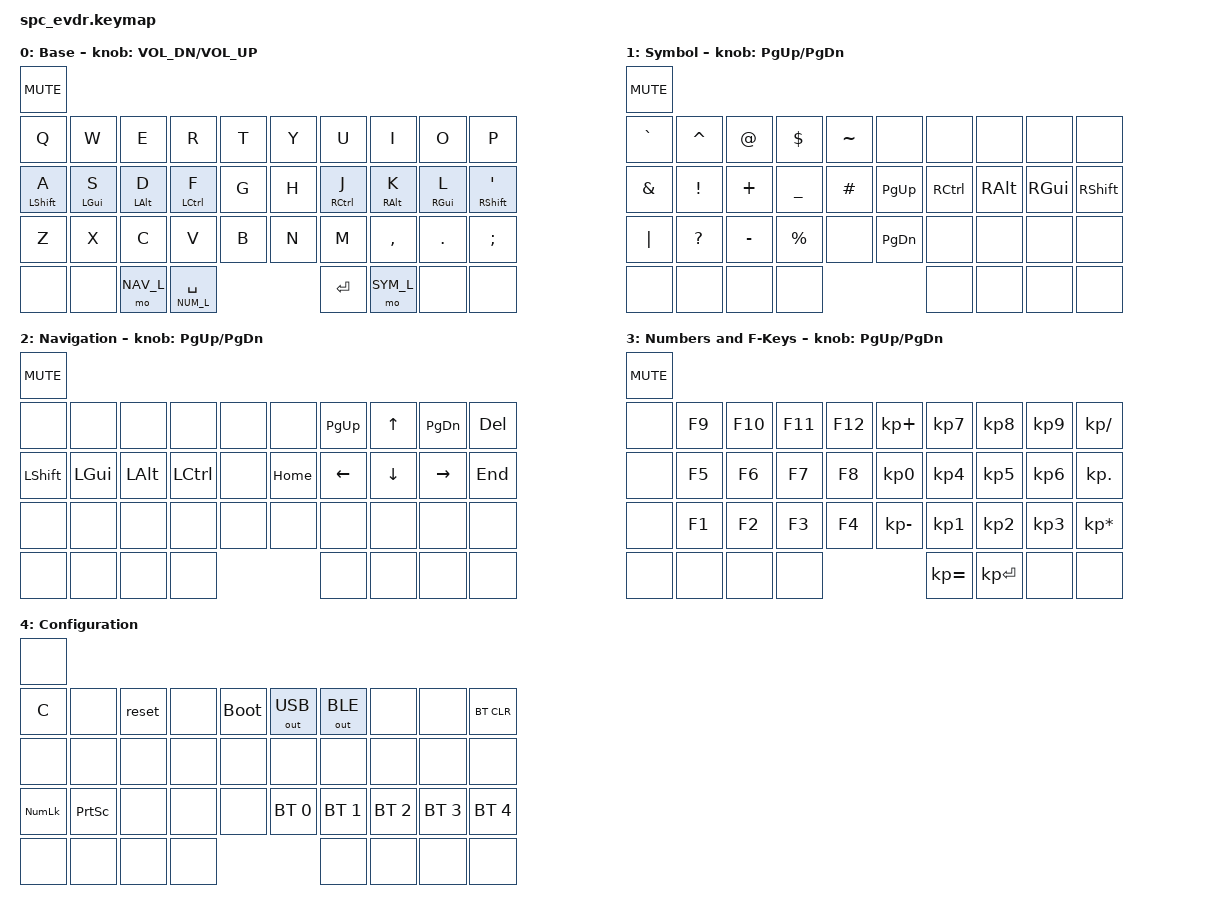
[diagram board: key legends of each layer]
/*
 * Copyright (c) 2022 weteor
 *
 * SPDX-License-Identifier: MIT
 */

#include <behaviors.dtsi>
#include <dt-bindings/zmk/keys.h>
#include <dt-bindings/zmk/bt.h>
#include <dt-bindings/zmk/outputs.h>

#define BAS_L 0
#define SYM_L 2
#define NAV_L 3
#define NUM_L 4
#define CFG_L 5
#define BLE_L 6

// repeating space/backspace
&lt { quick_tap_ms = <200>; };

/ {
    combos {
        compatible = "zmk,combos";

        combo_slash {
            timeout-ms = <50>;
            key-positions = <1 11>;
            layers = <BAS_L>;
            bindings = <&kp SLASH>;
            };
        combo_lBracket {
            timeout-ms = <50>;
            key-positions = <2 12>;
            layers = <BAS_L>;
            bindings = <&kp LEFT_BRACKET>;
            };
        combo_lBrace {
            timeout-ms = <50>;
            key-positions = <3 13>;
            layers = <BAS_L>;
            bindings = <&kp LEFT_BRACE>;
            };
        combo_lParanthesis {
            timeout-ms = <50>;
            key-positions = <4 14>;
            layers = <BAS_L>;
            bindings = <&kp LEFT_PARENTHESIS>;
            };
        combo_equal {
            timeout-ms = <50>;
            key-positions = <5 15>;
            layers = <BAS_L>;
            bindings = <&kp EQUAL>;
            };

        combo_asterix {
            timeout-ms = <50>;
            key-positions = <6 16>;
            layers = <BAS_L>;
            bindings = <&kp ASTERISK>;
            };

        combo_rParanthesis {
            timeout-ms = <50>;
            key-positions = <7 17>;
            layers = <BAS_L>;
            bindings = <&kp RIGHT_PARENTHESIS>;
            };
        combo_rBrace {
            timeout-ms = <50>;
            key-positions = <8 18>;
            layers = <BAS_L>;
            bindings = <&kp RIGHT_BRACE>;
            };
        combo_rBracket {
            timeout-ms = <50>;
            key-positions = <9 19>;
            layers = <BAS_L>;
            bindings = <&kp RIGHT_BRACKET>;
            };
        combo_bSlash {
            timeout-ms = <50>;
            key-positions = <10 20>;
            layers = <BAS_L>;
            bindings = <&kp BACKSLASH>;
            };

        combo_tab {
            timeout-ms = <50>;
            key-positions = <2 3>;
            bindings = <&kp TAB>;
            };
        combo_backspace {
            timeout-ms = <50>;
            key-positions = <8 9>;
            bindings = <&kp BACKSPACE>;
            };
        combo_esc {
            timeout-ms = <50>;
            key-positions = <1 2>;
            bindings = <&kp ESCAPE>;
            };

        combo_cfgLayer {
            timeout-ms = <50>;
            key-positions = <31 32>;
            bindings = <&mo CFG_L>;
            };

        combo_capsWord {
            timeout-ms = <50>;
            key-positions = <23 29>;
            bindings = <&caps_word>;
            };

    };

    behaviors {
        hm: homerow_mods {
            compatible = "zmk,behavior-hold-tap";
            label = "homerow mods";
            #binding-cells = <2>;
            tapping_term_ms = <180>;
            flavor = "tap-preferred";
            bindings = <&kp>, <&kp>;
        };
    };

    
// COMBOS
// vertical
// -------------------------------     -------------------------------
// |  Q  |  W  |  E  |  R  |  T  |     |  Y  |  U  |  I  |  O  |  P  | 
// |  /  |  [  |  {  |  (  |  =  |     |  *  |  )  |  }  |  ]  |  \  |  
// |  A  |  S  |  D  |  F  |  G  |     |  H  |  J  |  K  |  L  |  '  | 
//
// others:
// Q + W - escape
// W + E - tab
// I + O - backspace
// C + , - word caps
// both left bottom keys -> Layer CFG

    keymap {
        compatible = "zmk,keymap";

        default_layer {
            label = " Base";
// -------------------------------     -------------------------------
// |  Q  |  W  |  E  |  R  |  T  |  Y  |  U  |  I  |  O  |  P  | 
// |A sft|S win|D alt|F ctl|  G  |  H  |J ctl|K alt|L win|' sft| 
// |  Z  |  X  |  C  |  V  |  B  |  N  |  M  |  ,  |  .  |  ;  | 
// |     |     |xxxxx| Nav | Spc/| Ent | Sym |xxxxx|     |     |
//                           Num
// -------------------------------     -------------------------------
            bindings = <
                &kp C_MUTE
                &kp Q       &kp W       &kp E       &kp R       &kp T     &kp Y       &kp U       &kp I       &kp O       &kp P
                &hm LSHFT A &hm LGUI S  &hm LALT D  &hm LCTRL F &kp G     &kp H       &hm RCTRL J &hm RALT K  &hm RGUI L  &hm RSHFT QUOT
                &kp Z       &kp X       &kp C       &kp V       &kp B     &kp N       &kp M       &kp COMMA   &kp DOT     &kp SEMI
//                &none       &none           &lt NUM_L SPACE       &mo NAV_L           &lt SYM_L RET         &none       &none
                &none       &none                &mo NAV_L   &lt NUM_L SPACE   &kp RET     &mo SYM_L              &none       &none 
            >;
            sensor-bindings = <&inc_dec_kp C_VOL_DN C_VOL_UP>;
        };
        
        sym_layer {
            label = " Symbol";
// -------------------------------     -------------------------------
// |  `  |  ^  |  @  |  $  |  ~  |  -  |     |     |     |     |     | 
// |  &  |  !  |  +  |  _  |  #  |     |pg up| ctrl| ralt| gui | sft | 
// |  |  |  ?  |  -  |  %  |     |  -  |pg dn|     |     |     |     | 
// |     |     |xxxxx|     |     |     |     |     |xxxxx|     |     |
// -------------------------------     -------------------------------
            bindings = <
                &kp C_MUTE 
                &kp GRAVE   &kp CARET   &kp AT      &kp DOLLAR  &kp TILDE               &none       &none       &none       &none       &none
                &kp AMPS    &kp EXCL    &kp PLUS    &kp UNDER   &kp HASH                &kp PG_UP   &kp RCTRL   &kp RALT    &kp RGUI    &kp RSHFT
                &kp PIPE    &kp QMARK   &kp MINUS   &kp PERCENT &none                   &kp PG_DN   &none       &none       &none       &none
                &none       &none                   &none       &none                   &none       &none                   &none       &none 
            >;
            sensor-bindings = <&inc_dec_kp PG_UP PG_DN>;
        };
        
        nav_layer {
            label = " Navigation";
// -------------------------------     -------------------------------
// |     |     |     |     |     |  -  |     |pg dn| up  |pg up| del | 
// | sft | gui | alt | ctrl|     |     |home |left |down |right| end | 
// |     |     |     |     |     |  -  |     |prev | play|stop | next| 
// |     |     |xxxxx|     |     |     |     |     |xxxxx|     |     |
// -------------------------------     -------------------------------
            bindings = <
                &kp C_MUTE 
                &none       &none       &none       &none       &none                   &none       &kp PG_UP   &kp UP      &kp PG_DN   &kp DEL
                &kp LSHFT   &kp LGUI    &kp LALT    &kp LCTRL   &none                   &kp HOME    &kp LEFT    &kp DOWN    &kp RIGHT   &kp END
                &none       &none       &none       &none       &none                   &none       &none       &none       &none       &none
                &none       &none                   &none       &none                   &none       &none                   &none       &none 
            >;
            sensor-bindings = <&inc_dec_kp PG_UP PG_DN>;
        };

        num_layer {
            label = " Numbers and F-Keys";
// -------------------------------     -------------------------------
// |     |  F9 | F10 | F11 | F12 |  -  |  +  | num7| num8| num9|  /  | 
// |     |  F5 |  F6 |  F7 |  F8 |     |  0  | num4| num5| num6|  .  | 
// |     |  F1 |  F2 |  F3 |  F4 |  -  |  -  | num1| num2| num3|  *  | 
// |     |     |xxxxx|     |     |     |  =  | ent |xxxxx|     |     |
// -------------------------------     -------------------------------
            bindings = <
                &kp C_MUTE 
                &none       &kp F9      &kp F10     &kp F11     &kp F12                 &kp KP_PLUS &kp KP_N7   &kp KP_N8   &kp KP_N9   &kp KP_SLASH 
                &none       &kp F5      &kp F6      &kp F7      &kp F8                  &kp KP_N0   &kp KP_N4   &kp KP_N5   &kp KP_N6   &kp KP_DOT
                &none       &kp F1      &kp F2      &kp F3      &kp F4                  &kp KP_MINUS &kp KP_N1  &kp KP_N2   &kp KP_N3   &kp KP_MULTIPLY
                &none       &none                   &none       &none                   &kp KP_EQUAL &kp KP_ENTER           &none       &none 
            >;
            sensor-bindings = <&inc_dec_kp PG_UP PG_DN>;
        };
        
        cfg_layer {
            label = " Configuration";
// -------------------------------     -------------------------------
// |     |     |     |     |     |  -  | USB | BLE |     |     |BTCLR| 
// |     |     |     |     |     |     |     |     |     |     |     | 
// |numlk|PSCRN|     |     |     |  -  | BT0 | BT1 | BT2 | BT3 | BT4 | 
// |     |     |xxxxx|     |     |     |     |     |xxxxx|     |     |
// -------------------------------     -------------------------------
            bindings = <
                &none
                &kp C       &none       &reset       &none       &bootloader               &out OUT_USB &out OUT_BLE &none        &none        &bt BT_CLR
                &none       &none       &none        &none         &none                   &none        &none        &none        &none        &none
                &kp KP_NUM  &kp PSCRN   &none        &none         &none                   &bt BT_SEL 0 &bt BT_SEL 1 &bt BT_SEL 2 &bt BT_SEL 3 &bt BT_SEL 4
                &none       &none                    &none         &none                   &none        &none                     &none        &none 
            >;
        };
    };
};


